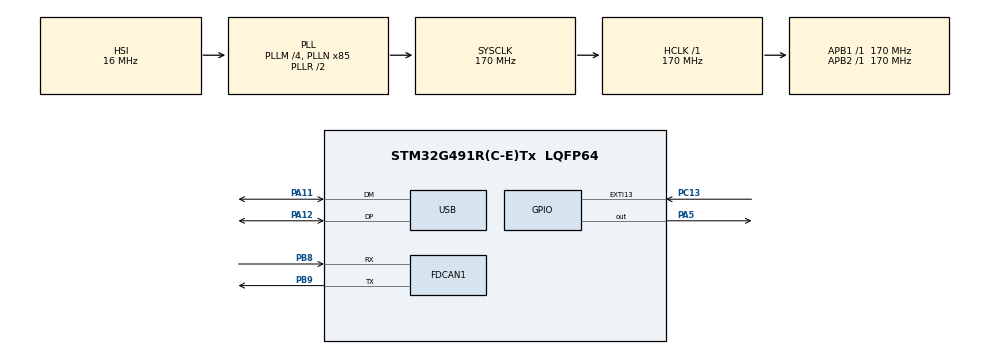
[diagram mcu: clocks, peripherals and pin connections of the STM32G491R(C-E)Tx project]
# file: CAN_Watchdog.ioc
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FDCAN1.CalculateBaudRateNominal=250000
FDCAN1.CalculateTimeBitNominal=4000
FDCAN1.CalculateTimeQuantumNominal=400.0
FDCAN1.NominalPrescaler=68
FDCAN1.NominalTimeSeg1=7
FDCAN1.NominalTimeSeg2=2
Mcu.Family=STM32G4
Mcu.Name=STM32G491R(C-E)Tx
Mcu.Package=LQFP64
NUCLEO-G491RE.BUTTON=1
NUCLEO-G491RE.LD2=true
NUCLEO-G491RE.VCP=true
NVIC.EXTI15_10_IRQn=true\:0\:0\:false\:false\:true\:true\:true\:true
NVIC.PriorityGroup=NVIC_PRIORITYGROUP_4
NVIC.USB_LP_IRQn=true\:0\:0\:false\:false\:true\:false\:true\:true
PA11.Mode=Device
PA11.Signal=USB_DM
PA12.Mode=Device
PA12.Signal=USB_DP
PA13.GPIO_Label=T_SWDIO
PA13.Signal=SYS_JTMS-SWDIO
PA14.GPIO_Label=T_SWCLK
PA14.Signal=SYS_JTCK-SWCLK
PA2.Signal=LPUART1_TX
PA3.Signal=LPUART1_RX
PA5.Signal=GPIO_Output
PB3.GPIO_Label=T_SWO
PB3.Signal=SYS_JTDO-SWO
PB8-BOOT0.Mode=FDCAN_Activate
PB8-BOOT0.Signal=FDCAN1_RX
PB9.Mode=FDCAN_Activate
PB9.Signal=FDCAN1_TX
PC13.Signal=GPXTI13
PC14-OSC32_IN.GPIO_Label=RCC_OSC32_IN
PC14-OSC32_IN.Signal=RCC_OSC32_IN
PC15-OSC32_OUT.GPIO_Label=RCC_OSC32_OUT
PC15-OSC32_OUT.Signal=RCC_OSC32_OUT
PF0-OSC_IN.GPIO_Label=RCC_OSC_IN
PF0-OSC_IN.Signal=RCC_OSC_IN
PF1-OSC_OUT.GPIO_Label=RCC_OSC_OUT
PF1-OSC_OUT.Signal=RCC_OSC_OUT
ProjectManager.HeapSize=0x200
ProjectManager.StackSize=0x400
ProjectManager.TargetToolchain=STM32CubeIDE
RCC.ADC12Freq_Value=170000000
RCC.ADC345Freq_Value=170000000
RCC.AHBFreq_Value=170000000
RCC.APB1Freq_Value=170000000
RCC.APB1TimFreq_Value=170000000
RCC.APB2Freq_Value=170000000
RCC.APB2TimFreq_Value=170000000
RCC.CortexFreq_Value=170000000
RCC.EXTERNAL_CLOCK_VALUE=12288000
RCC.HCLKFreq_Value=170000000
RCC.HSE_VALUE=24000000
RCC.HSI48_VALUE=48000000
RCC.HSI_VALUE=16000000
RCC.LSE_VALUE=32768
RCC.PLLM=RCC_PLLM_DIV4
RCC.PLLN=85
RCC.RTCClockSelection=RCC_RTCCLKSOURCE_LSE
RCC.SYSCLKFreq_VALUE=170000000
RCC.SYSCLKSource=RCC_SYSCLKSOURCE_PLLCLK
RCC.USBFreq_Value=48000000
RCC.VCOOutputFreq_Value=340000000
USB_DEVICE.CLASS_NAME_FS=CDC
USB_DEVICE.VirtualMode=Cdc
USB_DEVICE.VirtualModeFS=Cdc_FS
VP_NUCLEO-G491RE_VS_BSP_COMMON.Mode=COMMON
VP_SYS_VS_DBSignals.Mode=DisableDeadBatterySignals
VP_USB_DEVICE_VS_USB_DEVICE_CDC_FS.Mode=CDC_FS
board=NUCLEO-G491RE

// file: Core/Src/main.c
/* USER CODE BEGIN Header */
/**
 ******************************************************************************
 * @file           : main.c
 * @brief          : Main program body
 ******************************************************************************
 * @attention
 *
 * Copyright (c) 2025 STMicroelectronics.
 * All rights reserved.
 *
 * This software is licensed under terms that can be found in the LICENSE file
 * in the root directory of this software component.
 * If no LICENSE file comes with this software, it is provided AS-IS.
 *
 ******************************************************************************
 */
/* USER CODE END Header */
#include "main.h"
#include "fdcan.h"
#include "usb_device.h"
#include "usbd_cdc_if.h"
#include "gpio.h"
/* USER CODE BEGIN Includes */
#include "stm32g4xx_hal.h"
#include <stdio.h>
#include <stdlib.h>
/* USER CODE END Includes */
/* USER CODE BEGIN PV */
 // Initializes variables to be used to check when the last respective message was sent
 uint32_t lastHeartBeatMessage = 0;
 uint32_t lastCanTransmitterMessage = 0;
 uint8_t heartBeatError = 0;					// Flag to indicate Heartbeat timeout
 uint8_t canTransmitterError = 0;				// Flag to indicate CAN Transmitter timeout
/* USER CODE END PV */
void SystemClock_Config(void);
/* USER CODE BEGIN PFP */
/* Includes ------------------------------------------------------------------*/

// Prototype for CAN Transmission
HAL_StatusTypeDef CAN_Send(uint32_t id, uint8_t *data, uint8_t length);

// Prototype to see if a certain message hasn't been seen in over a second
uint8_t lastMessageSent(uint32_t lastMessage);

/* USER CODE END PFP */
int main(void)
{
 /* MCU Configuration--------------------------------------------------------*/
 /* Reset of all peripherals, Initializes the Flash interface and the Systick. */
 HAL_Init();
 /* Configure the system clock */
 SystemClock_Config();
 /* Initialize all configured peripherals */
 MX_GPIO_Init();
 MX_FDCAN1_Init();
 /* USER CODE BEGIN 2 */

 // Enables printout
 CoreDebug->DEMCR |= CoreDebug_DEMCR_TRCENA_Msk;
     ITM->LAR = 0xC5ACCE55;
     ITM->TCR = ITM_TCR_ITMENA_Msk;
     ITM->TER = 1;
 printf("Hello world!\r\n");
 fflush(stdout);

 // Initializes the clock for GPIO A pins
 __HAL_RCC_GPIOA_CLK_ENABLE();

 /* Configure GPIO Pins*/
 GPIO_InitTypeDef GPIO_InitStruct = {0};
 GPIO_InitStruct.Pin = GPIO_PIN_5 | GPIO_PIN_8;
 GPIO_InitStruct.Mode = GPIO_MODE_OUTPUT_PP;
 GPIO_InitStruct.Pull = GPIO_NOPULL;
 GPIO_InitStruct.Speed = GPIO_SPEED_FREQ_LOW;
 HAL_GPIO_Init(GPIOA, &GPIO_InitStruct);

 /* Enable NVIC interrupt for FDCAN */
 HAL_NVIC_SetPriority(FDCAN1_IT0_IRQn, 0, 0);
 HAL_NVIC_EnableIRQ(FDCAN1_IT0_IRQn);

 /* Simple Transmit Message */
 uint8_t TxData[8] = {0xAA, 0xBB, 0xCC, 0xDD, 0xEE, 0xFF, 0x11, 0x22};

 /* Configure RX filter (accept all) */
 FDCAN_FilterTypeDef sFilterConfig;
 sFilterConfig.IdType = FDCAN_STANDARD_ID;
 sFilterConfig.FilterIndex = 0;
 sFilterConfig.FilterType = FDCAN_FILTER_MASK;
 sFilterConfig.FilterConfig = FDCAN_FILTER_TO_RXFIFO0;
 sFilterConfig.FilterID1 = 0x000;
 sFilterConfig.FilterID2 = 0x7FF; // or 0x7FF for full mask

 if(HAL_FDCAN_ConfigFilter(&hfdcan1, &sFilterConfig) != HAL_OK)
 {
     Error_Handler();
 }
 /* 2️ Start FDCAN peripheral */
 if(HAL_FDCAN_Start(&hfdcan1) != HAL_OK)
 {
     Error_Handler();
 }
 /* 3️ Enable RX FIFO 0 new message interrupt */
 if(HAL_FDCAN_ActivateNotification(&hfdcan1,
                                    FDCAN_IT_RX_FIFO0_NEW_MESSAGE,
                                    0) != HAL_OK)
 {
     Error_Handler();
 }

 /* USER CODE END 2 */
 /* Infinite loop */
 /* USER CODE BEGIN WHILE */
 while (1)
 {

	 // Send CAN Heartbeat message
	 CAN_Send(0x123, TxData, 8);

	 HAL_Delay(250);

	 // Check if each message has been received over the past second
	 heartBeatError = lastMessageSent(lastHeartBeatMessage);
	 canTransmitterError = lastMessageSent(lastCanTransmitterMessage);

	 // If any of the error flags are high, Shut the relay down
	 if(heartBeatError + canTransmitterError){
		 HAL_GPIO_WritePin(GPIOA, GPIO_PIN_5, GPIO_PIN_SET); // This turns the LED on
		 HAL_GPIO_WritePin(GPIOA, GPIO_PIN_8, GPIO_PIN_RESET);
	 }
	 else{
		 HAL_GPIO_WritePin(GPIOA, GPIO_PIN_5, GPIO_PIN_RESET); // This turns the LED off
		 HAL_GPIO_WritePin(GPIOA, GPIO_PIN_8, GPIO_PIN_SET);
	 }

	 /* USER CODE END WHILE */
 }
}
void SystemClock_Config(void)
{
 RCC_OscInitTypeDef RCC_OscInitStruct = {0};
 RCC_ClkInitTypeDef RCC_ClkInitStruct = {0};
 /** Configure the main internal regulator output voltage
 */
 HAL_PWREx_ControlVoltageScaling(PWR_REGULATOR_VOLTAGE_SCALE1_BOOST);
 /** Initializes the RCC Oscillators according to the specified parameters
 * in the RCC_OscInitTypeDef structure.
 */
 RCC_OscInitStruct.OscillatorType = RCC_OSCILLATORTYPE_HSI|RCC_OSCILLATORTYPE_HSI48;
 RCC_OscInitStruct.HSIState = RCC_HSI_ON;
 RCC_OscInitStruct.HSICalibrationValue = RCC_HSICALIBRATION_DEFAULT;
 RCC_OscInitStruct.HSI48State = RCC_HSI48_ON;
 RCC_OscInitStruct.PLL.PLLState = RCC_PLL_ON;
 RCC_OscInitStruct.PLL.PLLSource = RCC_PLLSOURCE_HSI;
 RCC_OscInitStruct.PLL.PLLM = RCC_PLLM_DIV4;
 RCC_OscInitStruct.PLL.PLLN = 85;
 RCC_OscInitStruct.PLL.PLLP = RCC_PLLP_DIV2;
 RCC_OscInitStruct.PLL.PLLQ = RCC_PLLQ_DIV2;
 RCC_OscInitStruct.PLL.PLLR = RCC_PLLR_DIV2;
 if (HAL_RCC_OscConfig(&RCC_OscInitStruct) != HAL_OK)
 {
   Error_Handler();
 }
 /** Initializes the CPU, AHB and APB buses clocks
 */
 RCC_ClkInitStruct.ClockType = RCC_CLOCKTYPE_HCLK|RCC_CLOCKTYPE_SYSCLK
                             |RCC_CLOCKTYPE_PCLK1|RCC_CLOCKTYPE_PCLK2;
 RCC_ClkInitStruct.SYSCLKSource = RCC_SYSCLKSOURCE_PLLCLK;
 RCC_ClkInitStruct.AHBCLKDivider = RCC_SYSCLK_DIV1;
 RCC_ClkInitStruct.APB1CLKDivider = RCC_HCLK_DIV1;
 RCC_ClkInitStruct.APB2CLKDivider = RCC_HCLK_DIV1;
 if (HAL_RCC_ClockConfig(&RCC_ClkInitStruct, FLASH_LATENCY_4) != HAL_OK)
 {
   Error_Handler();
 }
}
/* USER CODE BEGIN 4 */
// CAN Transmit function
HAL_StatusTypeDef CAN_Send(uint32_t id, uint8_t *data, uint8_t length)
{
    FDCAN_TxHeaderTypeDef TxHeader;

    if (length > 8) length = 8;

    static const uint32_t DLC_LUT[9] = {
        FDCAN_DLC_BYTES_0,
        FDCAN_DLC_BYTES_1,
        FDCAN_DLC_BYTES_2,
        FDCAN_DLC_BYTES_3,
        FDCAN_DLC_BYTES_4,
        FDCAN_DLC_BYTES_5,
        FDCAN_DLC_BYTES_6,
        FDCAN_DLC_BYTES_7,
        FDCAN_DLC_BYTES_8
    };

    TxHeader.Identifier          = id;
    TxHeader.IdType              = FDCAN_STANDARD_ID;
    TxHeader.TxFrameType         = FDCAN_DATA_FRAME;
    TxHeader.DataLength          = DLC_LUT[length];
    TxHeader.ErrorStateIndicator = FDCAN_ESI_ACTIVE;
    TxHeader.BitRateSwitch       = FDCAN_BRS_OFF;
    TxHeader.FDFormat            = FDCAN_CLASSIC_CAN;
    TxHeader.TxEventFifoControl  = FDCAN_NO_TX_EVENTS;
    TxHeader.MessageMarker       = 0;

    return HAL_FDCAN_AddMessageToTxFifoQ(&hfdcan1, &TxHeader, data);
}

// CAN Receive function
void HAL_FDCAN_RxFifo0Callback(FDCAN_HandleTypeDef *hfdcan, uint32_t RxFifo0ITs)
{
   FDCAN_RxHeaderTypeDef RxHeader;
   uint8_t RxData[8];
   /* Get the received message */
   if(HAL_FDCAN_GetRxMessage(hfdcan, FDCAN_RX_FIFO0, &RxHeader, RxData) == HAL_OK)
   {
	   printf("RX ID: 0x%03lX | Data:", RxHeader.Identifier);
	   		for(int i=0; i<8; i++)
	   		{
	   			printf(" %02X", RxData[i]);
	   		}
	   		printf("\r\n");
	   		fflush(stdout);

	   switch(RxHeader.Identifier){
	   case 0x7DF:
		   lastCanTransmitterMessage = HAL_GetTick();
		   canTransmitterError = 0;

		   // Prints the Data
		   if(RxData[1] == 0xAA){
			   printf("Button Value: OFF\n");
		   }
		   else{
			   printf("Button Value: ON\n");
		   }

		   if(RxData[2] == 0xAA){
			   printf("AMS Latch Fault: OFF\n");
		   }
		   else{
			   printf("AMS Latch Fault: ON\n");
		   }

		   if(RxData[3] == 0xAA){
			   printf("IMD Latch Fault: OFF\n");
		   }
		   else{
			   printf("IMD Latch Fault: ON\n");
		   }

		   if(RxData[4] == 0xAA){
			   printf("CAN Watchdog Value: ON\n");
		   }
		   else{
			   printf("CAN Watchdog Value: OFF\n");
		   }

		   if(RxData[5] == 0xAA){
			   printf("Vehicle Start Latch Value: ON\n");
		   }
		   else{
			   printf("Vehicle Start Latch Value: OFF\n");
		   }
		   break;

	   case 0x023:
		   lastHeartBeatMessage = HAL_GetTick();
		   heartBeatError = 0;
		   break;
	   default:
		   break;
	   }
   }
}
void FDCAN1_IT0_IRQHandler(void)
{
   HAL_FDCAN_IRQHandler(&hfdcan1);
}

// Function to check if a certain message was received over the last second
uint8_t lastMessageSent(uint32_t lastMessage){
	if ((HAL_GetTick() - lastHeartBeatMessage) >= 1000) {
		return 1;
	}
	return 0;
}

/* USER CODE END 4 */
void Error_Handler(void)
{
 __disable_irq();
 while (1)
 {
 }
}
